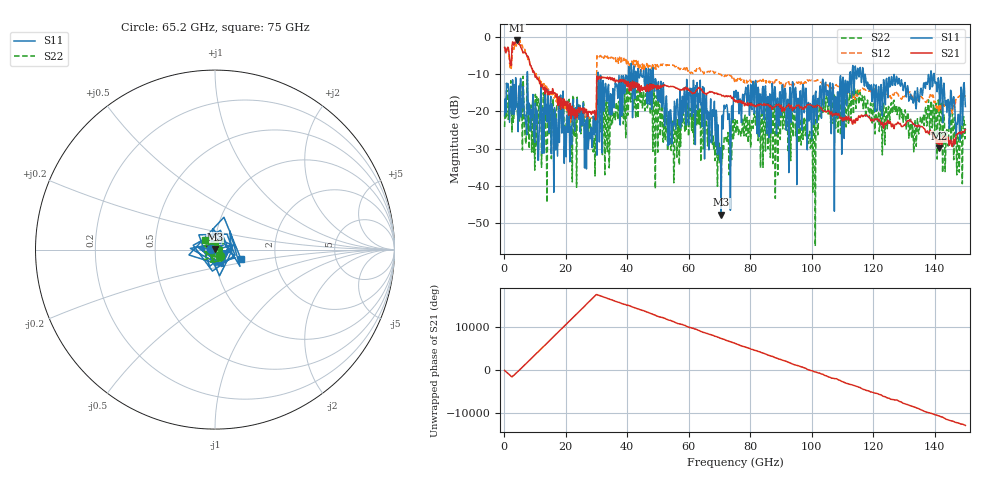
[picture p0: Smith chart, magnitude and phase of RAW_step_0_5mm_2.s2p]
!  2-Port S-parameters saved by WinCal
! VAR NAME=RAW_stepline_0.5mm_2
! VAR DATE=08/08/2022 23:06:16
! VAR FILENAME=RAW_stepline_0.5mm_2.S2P
! VAR MeasName=S-Parameters (CALIBRATED_DATA) read from VNA (MS4647B)
! VAR MeasDate=27-Apr-22 16:21:21
! VAR PHYS_PORTS=1,2
! VAR ObjTypeName=DATASET
! VAR IndexType=Frequency
! VAR ChuckHeaterState=Unknown
! VAR ChuckTemp=NaN
! VAR ChuckTempUnits=Unknown
# Hz S RI R 50
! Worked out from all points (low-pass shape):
!   750 points, 200 MHz to 150 GHz, reference 50 ohm
!   highest |S21| = -0.84 dB at 4.2 GHz (marker M1); lowest = -29.9 dB at 141.4 GHz (marker M2)
!   |S21| within 3 dB of the highest: 717.1 MHz to 1.579 GHz (861.5 MHz wide, 75.1 % of centre); 2.541 GHz to 6.058 GHz (3.517 GHz wide, 81.8 % of centre)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
!   lowest |S11| = -47.8 dB at 70.6 GHz (marker M3), VSWR 1.01, Z = 49.9 + j0.402 ohm
!   |S11| at or under -10 dB: 7.623 GHz to 30.58 GHz (22.96 GHz wide, 120 % of centre); 48.53 GHz to 112.4 GHz (63.85 GHz wide, 79.4 % of centre); 117.4 GHz to 138.7 GHz (21.3 GHz wide, 16.6 % of centre)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
!   |S22| runs from -56.3 to -10.5 dB; largest |S21 - S12| = 1.8
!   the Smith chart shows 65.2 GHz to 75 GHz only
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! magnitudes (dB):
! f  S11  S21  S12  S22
! 200 MHz  -21.1  -2.7  -2.6  -24.2
! 4.2 GHz  -18.9  -0.8  -1.4  -17.9
! 11 GHz  -33.2  -11.0  -10.7  -17.3
! 13.8 GHz  -18.2  -13.7  -13.1  -31.2
! 16.8 GHz  -30.4  -15.5  -16.6  -26.1
! 25.2 GHz  -19.4  -19.6  -21.3  -21.6
! 29.4 GHz  -26.3  -19.7  -21.4  -27.6
! 30.8 GHz  -10.8  -11.3  -5.1  -17.7
! 50.2 GHz  -11.9  -13.5  -8.0  -17.1
! 54 GHz  -19.6  -13.3  -7.5  -26.1
! 63.2 GHz  -19.4  -13.7  -8.6  -23.3
! 70.6 GHz  -47.8  -15.5  -10.0  -43.2
! 71.4 GHz  -20.2  -15.7  -10.2  -30.1
! 75.2 GHz  -15.8  -17.1  -11.3  -22.4
! 100.2 GHz  -19.1  -18.4  -11.8  -25.1
! 104.6 GHz  -12.1  -20.1  -12.6  -18.6
! 107.8 GHz  -16.0  -20.6  -13.0  -24.5
! 113.8 GHz  -15.3  -22.2  -15.9  -15.5
! 125.2 GHz  -10.7  -23.2  -16.5  -19.2
! 141.4 GHz  -12.1  -29.9  -20.2  -17.9
! 147.6 GHz  -20.8  -26.0  -16.1  -26.1
! 150 GHz  -18.7  -24.8  -15.6  -23.4
